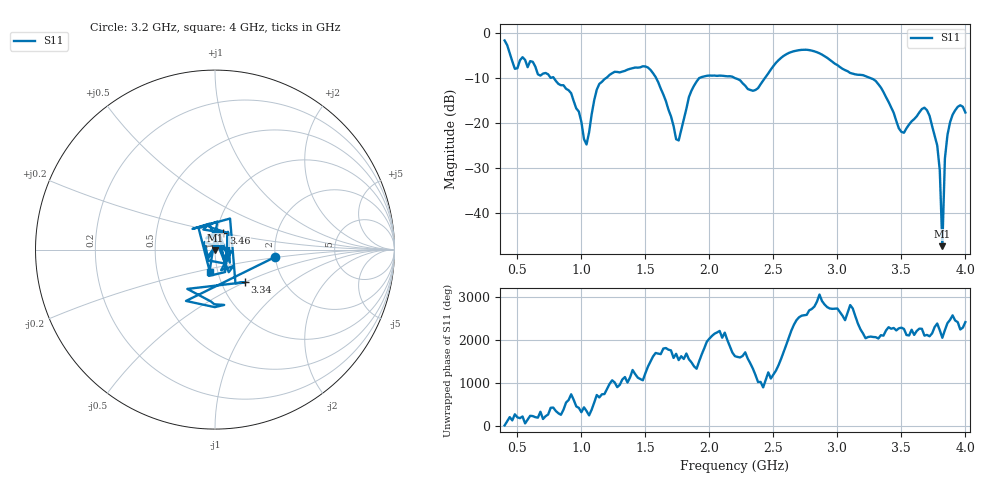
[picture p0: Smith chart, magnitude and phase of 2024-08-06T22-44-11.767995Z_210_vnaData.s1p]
!Created with skrf (http://scikit-rf.org).
# Hz S RI R 50.0
!freq ReS11 ImS11
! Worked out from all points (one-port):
!   181 points, 400 MHz to 4 GHz, reference 50 ohm
!   lowest |S11| = -47.4 dB at 3.82 GHz (marker M1), VSWR 1.01, Z = 49.9 - j0.404 ohm
!   |S11| at or under -10 dB: 783 MHz to 1.196 GHz (413.2 MHz wide, 41.8 % of centre); 1.583 GHz to 1.927 GHz (344.3 MHz wide, 19.6 % of centre); 3.251 GHz to end of sweep (the widest 3 of 5)
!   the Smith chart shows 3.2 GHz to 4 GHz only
!   S11 on the Smith chart (normalised r, x): 3.2 GHz: 2.00, -0.19; 3.34 GHz: 1.29, -0.50; 3.46 GHz: 1.08, +0.20; 4 GHz: 0.92, -0.24
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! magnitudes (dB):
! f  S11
! 400 MHz  -1.7
! 480 MHz  -8.0
! 540 MHz  -5.4
! 860 MHz  -11.7
! 980 MHz  -17.5
! 1.04 GHz  -24.8
! 1.14 GHz  -11.4
! 1.3 GHz  -8.8
! 1.54 GHz  -8.3
! 1.76 GHz  -23.9
! 1.84 GHz  -14.3
! 1.92 GHz  -10.1
! 2.2 GHz  -10.1
! 2.36 GHz  -12.7
! 2.66 GHz  -4.1
! 3.1 GHz  -8.9
! 3.2 GHz  -9.4
! 3.34 GHz  -12.2
! 3.46 GHz  -19.6
! 3.56 GHz  -20.4
! 3.72 GHz  -18.4
! 3.78 GHz  -25.0
! 3.8 GHz  -30.6
! 3.82 GHz  -47.4
! 3.84 GHz  -27.9
! 3.86 GHz  -22.7
! 3.94 GHz  -16.5
! 4 GHz  -17.7
